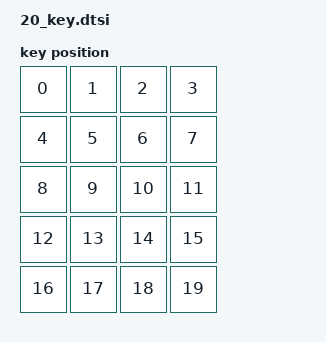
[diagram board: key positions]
#include <layouts/common/numpad/position_map.dtsi>
#include <physical_layouts.dtsi>

/ {
    layout_numpad_20_key: layout_numpad_20_key {
        compatible = "zmk,physical-layout";
        display-name = "20 Key Numpad";

        keys  //                     w   h    x    y     rot    rx    ry
            = <&key_physical_attrs 100 100    0    0       0     0     0>
            , <&key_physical_attrs 100 100  100    0       0     0     0>
            , <&key_physical_attrs 100 100  200    0       0     0     0>
            , <&key_physical_attrs 100 100  300    0       0     0     0>
            , <&key_physical_attrs 100 100    0  100       0     0     0>
            , <&key_physical_attrs 100 100  100  100       0     0     0>
            , <&key_physical_attrs 100 100  200  100       0     0     0>
            , <&key_physical_attrs 100 100  300  100       0     0     0>
            , <&key_physical_attrs 100 100    0  200       0     0     0>
            , <&key_physical_attrs 100 100  100  200       0     0     0>
            , <&key_physical_attrs 100 100  200  200       0     0     0>
            , <&key_physical_attrs 100 100  300  200       0     0     0>
            , <&key_physical_attrs 100 100    0  300       0     0     0>
            , <&key_physical_attrs 100 100  100  300       0     0     0>
            , <&key_physical_attrs 100 100  200  300       0     0     0>
            , <&key_physical_attrs 100 100  300  300       0     0     0>
            , <&key_physical_attrs 100 100    0  400       0     0     0>
            , <&key_physical_attrs 100 100  100  400       0     0     0>
            , <&key_physical_attrs 100 100  200  400       0     0     0>
            , <&key_physical_attrs 100 100  300  400       0     0     0>
            ;
    };
};

&layouts_common_numpad_position_map {
    layout_numpad_20_key {
        physical-layout = <&layout_numpad_20_key>;
        positions
            = <20 21 22 23>
            , < 0  1  2  3>
            , < 4  5  6  7>
            , < 8  9 10 11>
            , <12 13 14 15>
            , <16 17 18 19>
            ;
    };
};
